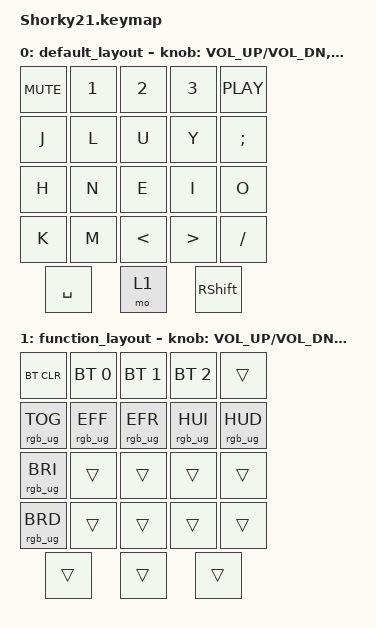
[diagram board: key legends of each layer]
#include <behaviors.dtsi>
#include <dt-bindings/zmk/keys.h>
#include <dt-bindings/zmk/bt.h>
#include <dt-bindings/zmk/rgb.h>

&led_strip {
    chain-length = <4>;
};


/ {
    keymap {
        compatible = "zmk,keymap";

        default_layout { // Default Layer
            bindings = <
                &kp C_MUTE    &kp N1    &kp N2    &kp N3      &kp C_PLAY 
                &kp J         &kp L     &kp U     &kp Y       &kp SEMI 
                &kp H         &kp N     &kp E     &kp I       &kp O
                &kp K         &kp M     &kp LT    &kp GT      &kp FSLH
                    &kp SPACE           &mo 1          &kp RSHFT 
            >;
            sensor-bindings = <&inc_dec_kp C_VOL_UP C_VOL_DN &inc_dec_kp PG_UP PG_DN>;
        };
	function_layout {
		bindings = <
                &bt BT_CLR        &bt BT_SEL 0      &bt BT_SEL 1      &bt BT_SEL 2       &trans
                &rgb_ug RGB_TOG   &rgb_ug RGB_EFF   &rgb_ug RGB_EFR   &rgb_ug RGB_HUI    &rgb_ug RGB_HUD
                &rgb_ug RGB_BRI   &trans            &trans            &trans             &trans
                &rgb_ug RGB_BRD   &trans            &trans            &trans             &trans
                         &trans                     &trans                       &trans
            >;
	    sensor-bindings = <&inc_dec_kp C_VOL_UP C_VOL_DN &inc_dec_kp PG_UP PG_DN>;
        };
    };
 };
